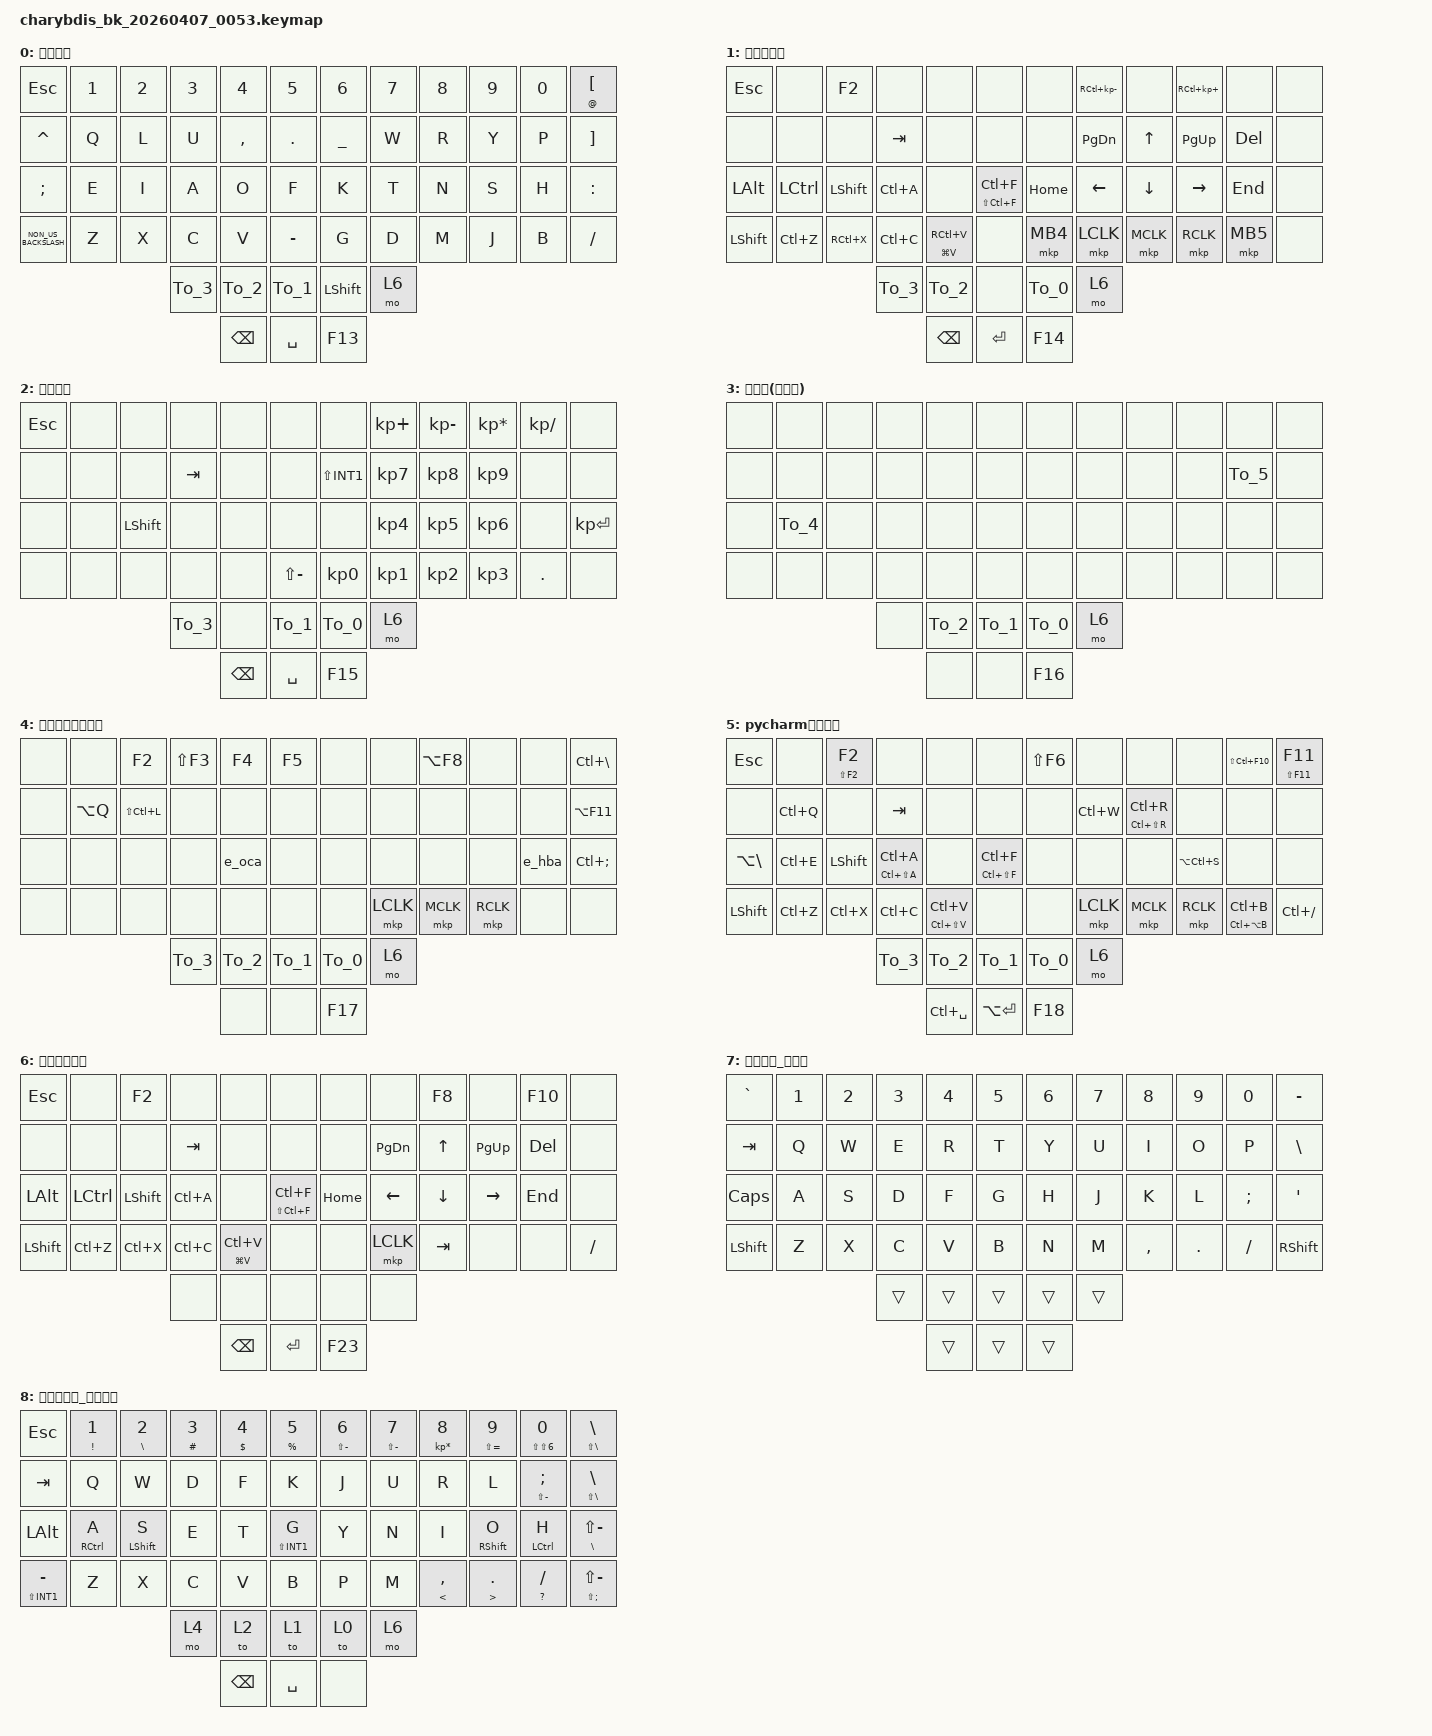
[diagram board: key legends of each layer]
#include <dt-bindings/zmk/mouse.h>
#include <behaviors/mouse_keys.dtsi>
#include <behaviors.dtsi>
#include <dt-bindings/zmk/keys.h>
#include <dt-bindings/zmk/pointing.h>

/ {
    /* --- トラックボール入力設定 --- */

    trackball_listener {
        compatible = "zmk,input-behavior-listener";
        device = <&vtrackball>;
        status = "okay";

        /* 根拠: 0,1,2の全レイヤーでマウス移動を許可する */

        layers = <0 1 2 3 4 5 6 7>; // <-- ここを修正
        evt-type = <INPUT_EV_REL>;
        x-input-code = <INPUT_REL_X>;
        y-input-code = <INPUT_REL_Y>;
        scale-multiplier = <1>;
        scale-divisor = <4>;
    };

    /* --- レイヤー3専用：低速設定（DPI変更） --- */
    /* ----------
    trackball_snipe_listener {
        compatible = "zmk,input-behavior-listener";
        device = <&vtrackball>;
        status = "okay";

        // 下記レイヤーの時だけこの設定を適用する

        layers = <2 3>;
        evt-type = <INPUT_EV_REL>;
        x-input-code = <INPUT_REL_X>;
        y-input-code = <INPUT_REL_Y>;
        scale-multiplier = <1>;

        // 根拠: 分母を大きくすると、マウスはより精密（低速）に動きます

        scale-divisor = <16>; // 2から8に変えることで、通常より4倍遅くなります
    };


    trackball_scroll_listener {
        compatible = "zmk,input-behavior-listener";
        device = <&vtrackball>;
        layers = <9>;
        evt-type = <INPUT_EV_REL>;
        x-input-code = <INPUT_REL_MISC>;
        y-input-code = <INPUT_REL_WHEEL>;
        y-invert;
        bindings = <&ib_wheel_scaler 1 14>;
    };

    --------- */

    ib_wheel_scaler: ib_wheel_scaler {
        compatible = "zmk,input-behavior-scaler";
        #binding-cells = <2>;
        evt-type = <INPUT_EV_REL>;
        input-code = <INPUT_REL_WHEEL>;
    };

    /* --- コンボ設定 --- */

    combos {
        compatible = "zmk,combos";

        zenkaku-hankaku-toggle {
            bindings = <&kp GRAVE>;
            key-positions = <14 13>;
            timeout-ms = <60>;
            require-prior-idle-ms = <100>;
            layers = <0 2 1 3>;
            slow-release;
        };

        voice_input {
            bindings = <&kp LC(LEFT_GUI)>;
            key-positions = <36 37>;
            layers = <0 2 1>;
        };

        left {
            bindings = <&left_arrow>;
            key-positions = <37 31>;
            layers = <0>;
        };

        upper {
            bindings = <&upper_arrow>;
            key-positions = <37 20>;
            layers = <0>;
        };

        under {
            bindings = <&under_arrow>;
            key-positions = <37 32>;
            layers = <0>;
        };

        right {
            bindings = <&right_arrow>;
            key-positions = <37 33>;
            layers = <0>;
        };
    };

    /* --- 特殊挙動定義 (エラー解消の根拠) --- */

    behaviors {
        auto_shift: auto_shift {
            compatible = "zmk,behavior-hold-tap";
            label = "AUTO_SHIFT";
            #binding-cells = <2>;
            flavor = "tap-preferred";
            tapping-term-ms = <280>;
            quick-tap-ms = <175>;
            bindings = <&kp>, <&kp>;
        };

        hmr: hmr {
            compatible = "zmk,behavior-hold-tap";
            label = "HMR";
            #binding-cells = <2>;
            tapping-term-ms = <190>;
            quick-tap-ms = <175>;
            flavor = "balanced";
            bindings = <&kp>, <&kp>;

            hold-trigger-key-positions = <0 1 2 3 4 5 12 13 14 15 16 17 24 25 26 27 28 29 36 37 38 39 40 41 48 49 50 51 52 53 54 55>;
        };

        hml: hml {
            compatible = "zmk,behavior-hold-tap";
            label = "HML";
            #binding-cells = <2>;
            tapping-term-ms = <190>;
            quick-tap-ms = <175>;
            flavor = "balanced";
            bindings = <&kp>, <&kp>;

            hold-trigger-key-positions = <6 7 8 9 10 11 18 19 20 21 22 23 30 31 32 33 34 35 42 43 44 45 46 47 48 49 50 51 52 53 54 55>;
        };
    };

    /* --- キーマップ --- */

    macros {
        e_oca: e_adjust {
            compatible = "zmk,behavior-macro";
            #binding-cells = <0>;
            bindings = <&kp LALT &kp O &kp C &kp A>;
            label = "E_ADJUST";
            wait-ms = <50>;
        };

        e_hba: e_hba {
            compatible = "zmk,behavior-macro";
            #binding-cells = <0>;
            bindings = <&kp LALT &kp H &kp B &kp A>;
            label = "E_HBA";
            wait-ms = <50>;
        };

        To_0: To_0 {
            compatible = "zmk,behavior-macro";
            #binding-cells = <0>;
            bindings = <&to 0>, <&macro_wait_time 100>, <&kp F13>;

            label = "TO_0";
        };

        To_1: To_1 {
            compatible = "zmk,behavior-macro";
            #binding-cells = <0>;
            bindings = <&to 1>, <&macro_wait_time 100>, <&kp F14>;

            label = "TO_1";
        };

        To_2: To_2 {
            compatible = "zmk,behavior-macro";
            #binding-cells = <0>;
            bindings = <&to 2>, <&macro_wait_time 100>, <&kp F15>;

            label = "TO_2";
        };

        To_3: To_3 {
            compatible = "zmk,behavior-macro";
            #binding-cells = <0>;
            bindings = <&to 3>, <&macro_wait_time 100>, <&kp F16>;

            label = "TO_3";
        };

        left_arrow: left_arrow {
            compatible = "zmk,behavior-macro";
            #binding-cells = <0>;
            bindings = <&kp Z &kp H>;
            label = "LEFT_ARROW";
        };

        under_arrow: under_arrow {
            compatible = "zmk,behavior-macro";
            #binding-cells = <0>;
            bindings = <&kp Z &kp J>;
            label = "UNDER_ARROW";
        };

        upper_arrow: upper_arrow {
            compatible = "zmk,behavior-macro";
            #binding-cells = <0>;
            bindings = <&kp Z &kp K>;
            label = "UPPER_ARROW";
        };

        right_arrow: right_arrow {
            compatible = "zmk,behavior-macro";
            #binding-cells = <0>;
            bindings = <&kp Z &kp L>;
            label = "RIGHT_ARROW";
        };

        To_4: To_4 {
            compatible = "zmk,behavior-macro";
            #binding-cells = <0>;
            bindings = <&to 4>, <&macro_wait_time 100>, <&kp F17>;

            label = "TO_4";
        };

        To_5: To_5 {
            compatible = "zmk,behavior-macro";
            #binding-cells = <0>;
            bindings = <&to 5>, <&macro_wait_time 100>, <&kp F18>;

            label = "TO_5";
        };
    };

    keymap {
        compatible = "zmk,keymap";

        onisi {
            label = "大西配列";
            bindings = <
&kp ESC               &kp NUMBER_1  &kp NUMBER_2  &kp NUMBER_3  &kp NUMBER_4  &kp N5        &kp NUMBER_6    &kp NUMBER_7  &kp NUMBER_8  &kp NUMBER_9  &kp NUMBER_0  &auto_shift AT_SIGN LEFT_BRACKET
&kp CARET             &kp Q         &kp L         &kp U         &kp COMMA     &kp PERIOD    &kp UNDERSCORE  &kp W         &kp R         &kp Y         &kp P         &kp RIGHT_BRACKET
&kp SEMICOLON         &kp E         &kp I         &kp A         &kp O         &kp F         &kp K           &kp T         &kp N         &kp S         &kp H         &kp COLON
&kp NON_US_BACKSLASH  &kp Z         &kp X         &kp C         &kp V         &kp MINUS     &kp G           &kp D         &kp M         &kp J         &kp B         &kp SLASH
                                                  &To_3         &To_2         &To_1         &kp LSHFT       &mo 6
                                                                &kp BSPC      &kp SPACE     &kp F13
            >;
        };

        mouse {
            label = "マウス移動";
            bindings = <
&kp ESC         &none      &kp F2     &none      &none                    &none                          &none     &kp RC(KP_MINUS)  &none      &kp RC(KP_PLUS)  &none     &none
&none           &none      &none      &kp TAB    &none                    &none                          &none     &kp PAGE_DOWN     &kp UP     &kp PAGE_UP      &kp DEL   &none
&kp LALT        &kp LCTRL  &kp LSHFT  &kp LC(A)  &none                    &auto_shift LS(LC(F)) LC(F)    &kp HOME  &kp LEFT          &kp DOWN   &kp RIGHT        &kp END   &none
&kp LEFT_SHIFT  &kp LC(Z)  &kp RC(X)  &kp LC(C)  &auto_shift LG(V) RC(V)  &none                          &mkp MB4  &mkp LCLK         &mkp MCLK  &mkp RCLK        &mkp MB5  &none
                                      &To_3      &To_2                    &none                          &To_0     &mo 6
                                                 &kp BSPC                 &kp RET                        &kp F14
            >;
        };

        number {
            bindings = <
&kp ESC  &none  &none      &none    &none     &none            &none            &kp KP_PLUS      &kp KP_MINUS     &kp KP_ASTERISK  &kp KP_SLASH  &none
&none    &none  &none      &kp TAB  &none     &none            &kp LS(INT1)     &kp KP_NUMBER_7  &kp KP_NUMBER_8  &kp KP_NUMBER_9  &none         &none
&none    &none  &kp LSHFT  &none    &none     &none            &none            &kp KP_NUMBER_4  &kp KP_NUMBER_5  &kp KP_NUMBER_6  &none         &kp KP_ENTER
&none    &none  &none      &none    &none     &kp LS(MINUS)    &kp KP_NUMBER_0  &kp KP_NUMBER_1  &kp KP_NUMBER_2  &kp KP_NUMBER_3  &kp DOT       &none
                           &To_3    &none     &To_1            &To_0            &mo 6
                                    &kp BSPC  &kp SPACE        &kp F15
            >;

            label = "テンキー";
        };

        app_base {
            bindings = <
&none  &none  &none  &none  &none  &none    &none    &none  &none  &none  &none  &none
&none  &none  &none  &none  &none  &none    &none    &none  &none  &none  &To_5  &none
&none  &To_4  &none  &none  &none  &none    &none    &none  &none  &none  &none  &none
&none  &none  &none  &none  &none  &none    &none    &none  &none  &none  &none  &none
                     &none  &To_2  &To_1    &To_0    &mo 6
                            &none  &none    &kp F16
            >;

            label = "ベース(アプリ)";
        };

        Excel {
            bindings = <
&none  &none      &kp F2         &kp LS(F3)  &kp F4  &kp F5    &none    &none      &kp LA(F8)  &none      &none   &kp LC(BSLH)
&none  &kp LA(Q)  &kp LS(LC(L))  &none       &none   &none     &none    &none      &none       &none      &none   &kp LA(F11)
&none  &none      &none          &none       &e_oca  &none     &none    &none      &none       &none      &e_hba  &kp LC(SEMICOLON)
&none  &none      &none          &none       &none   &none     &none    &mkp LCLK  &mkp MCLK   &mkp RCLK  &none   &none
                                 &To_3       &To_2   &To_1     &To_0    &mo 6
                                             &none   &none     &kp F17
            >;

            label = "エクセルコマンド";
        };

        pycharm {
            bindings = <
&kp ESC            &none      &auto_shift LS(F2) F2  &none                        &none                        &none                          &kp LS(F6)  &none      &none                        &none          &kp LS(LC(F10))              &auto_shift LS(F11) F11
&none              &kp LC(Q)  &none                  &kp TAB                      &none                        &none                          &none       &kp LC(W)  &auto_shift LC(LS(R)) LC(R)  &none          &none                        &none
&kp LA(BACKSLASH)  &kp LC(E)  &kp LSHFT              &auto_shift LC(LS(A)) LC(A)  &none                        &auto_shift LC(LS(F)) LC(F)    &none       &none      &none                        &kp LA(LC(S))  &none                        &none
&kp LEFT_SHIFT     &kp LC(Z)  &kp LC(X)              &kp LC(C)                    &auto_shift LC(LS(V)) LC(V)  &none                          &none       &mkp LCLK  &mkp MCLK                    &mkp RCLK      &auto_shift LC(LA(B)) LC(B)  &kp LC(SLASH)
                                                     &To_3                        &To_2                        &To_1                          &To_0       &mo 6
                                                                                  &kp LC(SPACE)                &kp LA(RET)                    &kp F18
            >;

            label = "pycharmコマンド";
        };

        edit {
            label = "文字入力確定";
            bindings = <
&kp ESC         &none      &kp F2     &none      &none                    &none                          &none     &none          &kp F8    &none        &kp F10  &none
&none           &none      &none      &kp TAB    &none                    &none                          &none     &kp PAGE_DOWN  &kp UP    &kp PAGE_UP  &kp DEL  &none
&kp LALT        &kp LCTRL  &kp LSHFT  &kp LC(A)  &none                    &auto_shift LS(LC(F)) LC(F)    &kp HOME  &kp LEFT       &kp DOWN  &kp RIGHT    &kp END  &none
&kp LEFT_SHIFT  &kp LC(Z)  &kp LC(X)  &kp LC(C)  &auto_shift LG(V) LC(V)  &none                          &none     &mkp LCLK      &kp TAB   &none        &none    &kp SLASH
                                      &none      &none                    &none                          &none     &none
                                                 &kp BSPC                 &kp RET                        &kp F23
            >;
        };

        qwerty {
            bindings = <
&kp GRAVE  &kp N1  &kp N2  &kp N3  &kp N4  &kp N5    &kp N6  &kp N7  &kp N8     &kp N9   &kp N0         &kp MINUS
&kp TAB    &kp Q   &kp W   &kp E   &kp R   &kp T     &kp Y   &kp U   &kp I      &kp O    &kp P          &kp BSLH
&kp CAPS   &kp A   &kp S   &kp D   &kp F   &kp G     &kp H   &kp J   &kp K      &kp L    &kp SEMICOLON  &kp APOS
&kp LSHFT  &kp Z   &kp X   &kp C   &kp V   &kp B     &kp N   &kp M   &kp COMMA  &kp DOT  &kp FSLH       &kp RSHFT
                           &trans  &trans  &trans    &trans  &trans
                                   &trans  &trans    &trans
            >;

            label = "テスト用_ダミー";
        };

        not_use_norman {
            bindings = <
&kp ESC                     &auto_shift EXCL N1  &auto_shift BSLH N2  &auto_shift HASH N3  &auto_shift DLLR N4  &auto_shift PRCNT N5      &auto_shift LS(MINUS) N6  &auto_shift LS(MINUS) N7  &auto_shift KP_ASTERISK N8  &auto_shift LS(EQUAL) N9  &auto_shift LS(LS(N6)) N0        &auto_shift LS(BSLH) BSLH
&kp TAB                     &kp Q                &kp W                &kp D                &kp F                &kp K                     &kp J                     &kp U                     &kp R                       &kp L                     &auto_shift LS(MINUS) SEMICOLON  &auto_shift LS(BSLH) BSLH
&kp LALT                    &auto_shift RCTRL A  &auto_shift LSHFT S  &kp E                &kp T                &auto_shift LS(INT1) G    &kp Y                     &kp N                     &kp I                       &auto_shift RSHFT O       &auto_shift LCTRL H              &auto_shift BSLH LS(MINUS)
&auto_shift LS(INT1) MINUS  &kp Z                &kp X                &kp C                &kp V                &kp B                     &kp P                     &kp M                     &auto_shift LT COMMA        &auto_shift GT DOT        &auto_shift QUESTION SLASH       &auto_shift LS(SEMICOLON) LS(MINUS)
                                                                      &mo 4                &to 2                &to 1                     &to 0                     &mo 6
                                                                                           &kp BSPC             &kp SPACE                 &none
            >;

            label = "現在未使用_英語配列";
        };
    };
};
